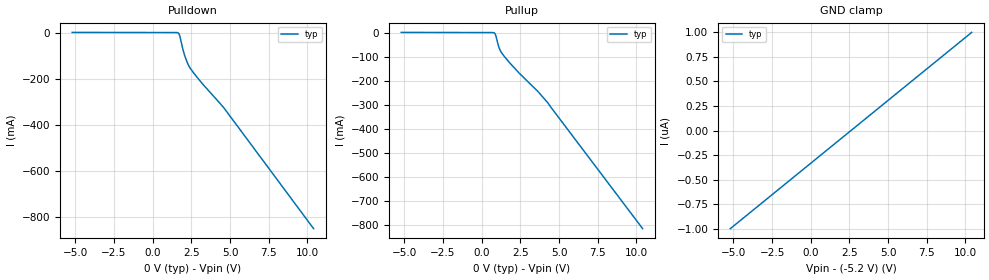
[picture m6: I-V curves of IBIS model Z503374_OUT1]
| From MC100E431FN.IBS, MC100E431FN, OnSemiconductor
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| (C) COPYRIGHT 1993-2000
| MENTOR GRAPHICS CORPORATION
| ICX STANDARD LIBRARY, ICX PROJECT MODELING,
| ICX CUSTOM MODELING, ICX VENDOR MODEL
| ALL RIGHTS RESERVED.
| THE FOLLOWING ARE TRADEMARKS OR SERVICE MARKS OF
| MENTOR GRAPHICS CORPORATION:ICX (R), ICX STANDARD
| LIBRARY(R), ICX PROJECT MODELING(R), ICX CUSTOM
| MODELING(R), qualityIBIS(TM), MODELVIEWER(TM),
| AND MODELEDITOR(TM)
| ALL COPIES OF SOFTWARE, INCLUDING BUT NOT LIMITED TO
| ANY MODIFICATIONS, ENHANCEMENTS OR DERIVATIVE WORKS,
| MUST CONTAIN ALL MENTOR GRAPHICS CORPORATION'S
| NOTICES AND LEGENDS, INCLUDING THOSE EMBEDDED IN
| SOFTWARE AND THOSE AFFIXED TO SOFTWARE MEDIUM
| AND CONTAINER, AS RECEIVED FROM MENTOR GRAPHICS
| CORPORATION.
| Model Application Version 1.89 2/18/99.
[Model] Z503374_OUT1
Model_type Output_ECL
Vref=-2.000V
Rref=50.00ohms
Cref=0.000F
Vmeas=-1.320V
C_comp 8.000pF NA NA
| variable typ   min   max
[Voltage Range] -5.200V NA NA
[POWER Clamp Reference] 0.000V NA NA
[Pullup Reference] 0.000V NA NA
[Pulldown Reference] 0.000V NA NA
[GND Clamp Reference] -5.200V NA NA
[GND Clamp]
-5.2V     -1uA       NA         NA
10.4V     1uA        NA         NA
[Pulldown]
-5.2V     569.7uA    NA         NA
1.66V     -2.246mA   NA         NA
1.714V    -7.636mA   NA         NA
1.764V    -17.94mA   NA         NA
1.944V    -70.61mA   NA         NA
2.07V     -100.4mA   NA         NA
2.236V    -130.6mA   NA         NA
2.393V    -151.6mA   NA         NA
3.195V    -220.8mA   NA         NA
4.619V    -328.2mA   NA         NA
10.4V     -850.4mA   NA         NA
[Pullup]
-5.2V     656.6uA    NA         NA
824.1mV   -2.027mA   NA         NA
877.4mV   -7.071mA   NA         NA
927.8mV   -16.69mA   NA         NA
1.065V    -51.9mA    NA         NA
1.133V    -65.31mA   NA         NA
1.252V    -81.16mA   NA         NA
1.417V    -95.95mA   NA         NA
2.415V    -168.4mA   NA         NA
3.632V    -245mA     NA         NA
4.294V    -293.8mA   NA         NA
10.4V     -815.5mA   NA         NA
[POWER Clamp]
-5.2V     0A         NA         NA
10.4V     0A         NA         NA
[Ramp]
| variable typ min max
dV/dt_r 471.2m/308.5p NA NA
dV/dt_f 471.2m/386.6p NA NA
R_load = 500.0Ohms
